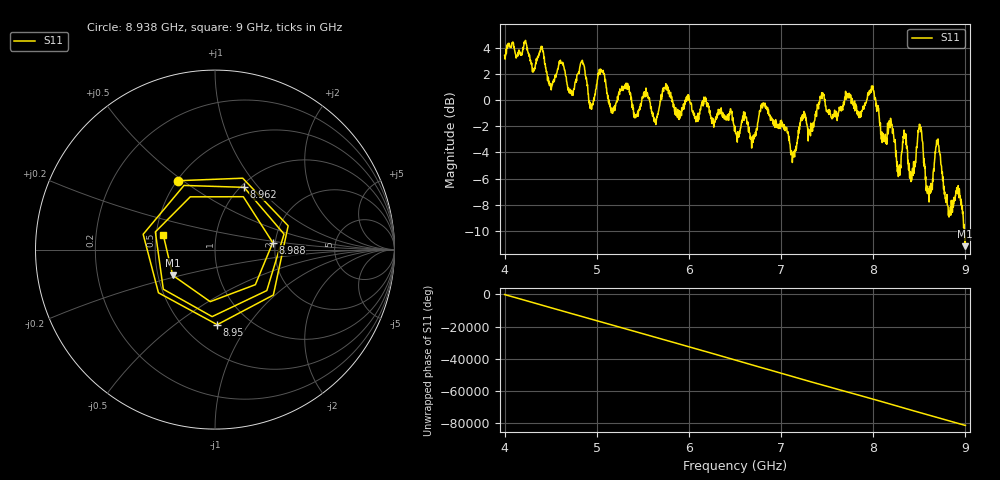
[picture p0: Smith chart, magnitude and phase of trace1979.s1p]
! Created with skrf 1.8.0 (http://scikit-rf.org).
# Hz S RI R 50.0
!freq ReS11 ImS11
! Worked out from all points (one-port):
!   1601 points, 4 GHz to 9 GHz, reference 50 ohm
!   lowest |S11| = -11.2 dB at 8.997 GHz (marker M1), VSWR 1.76, Z = 29.9 - j9.27 ohm
!   |S11| at or under -10 dB: 8.988877 GHz to end of sweep
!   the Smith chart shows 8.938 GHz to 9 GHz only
!   S11 on the Smith chart (normalised r, x): 8.938 GHz: 0.51, +0.48; 8.95 GHz: 0.72, -0.73; 8.962 GHz: 1.04, +0.84; 8.988 GHz: 1.94, +0.17; 9 GHz: 0.55, +0.10
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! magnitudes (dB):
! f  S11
! 4 GHz  3.5
! 4.625 GHz  2.9
! 4.722 GHz  0.5
! 4.847 GHz  2.9
! 4.938 GHz  -0.6
! 5.044 GHz  2.3
! 5.159 GHz  -1.0
! 5.25 GHz  0.9
! 5.875 GHz  -1.3
! 6.5 GHz  -2.0
! 6.809 GHz  -0.3
! 7.125 GHz  -4.4
! 7.441 GHz  0.6
! 7.75 GHz  0.4
! 7.988 GHz  0.9
! 8.275 GHz  -5.7
! 8.375 GHz  -4.9
! 8.419 GHz  -6.0
! 8.509 GHz  -2.0
! 8.597 GHz  -6.9
! 8.697 GHz  -3.3
! 8.809 GHz  -8.1
! 8.938 GHz  -7.2
! 8.95 GHz  -7.6
! 8.962 GHz  -8.3
! 8.988 GHz  -9.8
! 8.997 GHz  -11.2
! 9 GHz  -10.5
